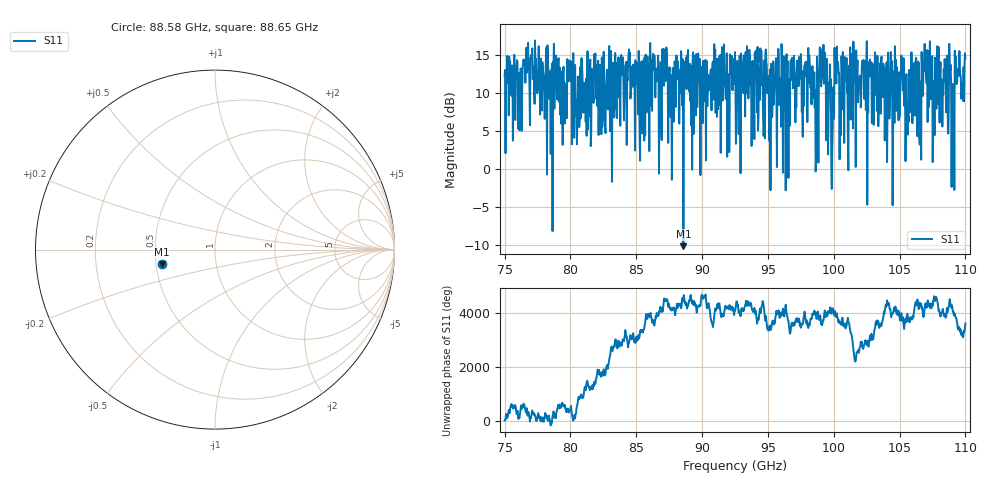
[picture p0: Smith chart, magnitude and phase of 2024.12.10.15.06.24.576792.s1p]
! Created with skrf (http://scikit-rf.org).
# GHz S RI R 50.0
!freq ReS11 ImS11
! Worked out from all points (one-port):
!   1001 points, 75 GHz to 110 GHz, reference 50 ohm
!   lowest |S11| = -10.2 dB at 88.58 GHz (marker M1), VSWR 1.89, Z = 26.7 - j4.77 ohm
!   |S11| at or under -10 dB: 88.5797 GHz to 88.5804 GHz (691.2 kHz wide, 0.00078 % of centre)
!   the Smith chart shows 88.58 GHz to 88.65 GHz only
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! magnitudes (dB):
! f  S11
! 75 GHz  12.2
! 76.19 GHz  11.9
! 76.61 GHz  14.1
! 79.38 GHz  12.4
! 83.75 GHz  12.2
! 85.43 GHz  8.3
! 86.2 GHz  7.6
! 86.76 GHz  8.5
! 87.14 GHz  15.0
! 87.56 GHz  9.9
! 88.12 GHz  11.8
! 88.58 GHz  -10.2
! 92.5 GHz  15.3
! 95.27 GHz  13.1
! 96.88 GHz  13.4
! 98.24 GHz  10.6
! 98.66 GHz  1.4
! 99.22 GHz  16.3
! 99.75 GHz  10.1
! 100.2 GHz  16.1
! 100.6 GHz  13.4
! 101.2 GHz  16.0
! 105.1 GHz  14.9
! 105.6 GHz  4.5
! 106.6 GHz  11.5
! 106.8 GHz  12.8
! 109 GHz  6.9
! 110 GHz  14.5
